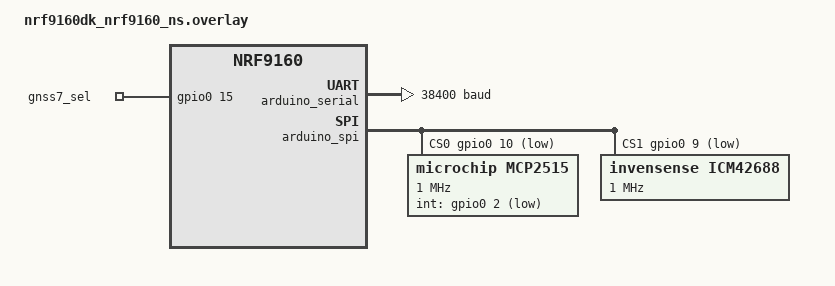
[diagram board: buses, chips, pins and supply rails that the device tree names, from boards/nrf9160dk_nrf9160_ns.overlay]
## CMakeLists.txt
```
# Copyright (c) 2022-2023 Golioth, Inc.
# SPDX-License-Identifier: Apache-2.0

cmake_minimum_required(VERSION 3.20.0)

if((BOARD STREQUAL nrf9160dk_nrf9160) OR (BOARD STREQUAL nrf9160dk_nrf9160_ns))
  set(SHIELD "arduino_uno_click")
endif()

find_package(Zephyr REQUIRED HINTS $ENV{ZEPHYR_BASE})

project(can_asset_tracker)

include_directories(src/lib/inc)
add_compile_definitions(timegm=mktime)
target_sources(app PRIVATE src/lib/minmea/minmea.c)

target_sources(app PRIVATE src/main.c)
target_sources(app PRIVATE src/app_rpc.c)
target_sources(app PRIVATE src/app_settings.c)
target_sources(app PRIVATE src/app_state.c)
target_sources(app PRIVATE src/app_sensors.c)
target_sources(app PRIVATE src/uplink_mqtt.c)
target_sources(app PRIVATE src/buffer_fifo.c)
target_sources(app PRIVATE src/obd_j1979.c)
target_sources(app PRIVATE src/dtc_decode.c)
target_sources(app PRIVATE src/harsh_driving.c)
target_sources(app PRIVATE src/imu_icm42688.c)
target_sources(app PRIVATE src/ota_update.c)
```

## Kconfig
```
# Copyright (c) 2022-2023 Golioth, Inc.
# SPDX-License-Identifier: Apache-2.0

mainmenu "Golioth application options"

if DNS_RESOLVER

config DNS_SERVER_IP_ADDRESSES
	default y

config DNS_SERVER1
	default "1.1.1.1"

endif # DNS_RESOLVER

menu "Uplink MQTT"

config UPLINK_MQTT_BROKER_HOSTNAME
	string "MQTT broker hostname or IP address"
	default ""
	help
	  Self-hosted MQTT broker to connect to. Left empty by default since
	  this is deployment-specific; must be set in a board/deployment conf
	  overlay before this module can connect.

config UPLINK_MQTT_BROKER_PORT
	int "MQTT broker TLS port"
	default 8883
	help
	  Standard MQTT-over-TLS port. Change if your broker listens
	  elsewhere.

config UPLINK_MQTT_SEC_TAG
	int "Modem key-mgmt security tag for broker TLS credentials"
	default 1234567
	help
	  nRF9160 modem-side credential storage slot (see modem_key_mgmt.h)
	  used for the CA cert / client cert / private key trio provisioned
	  by uplink_mqtt_init(). Pick a project-specific value if this device
	  already uses other sec_tags for unrelated purposes (they share one
	  flat, modem-global numeric namespace).

config UPLINK_MQTT_DEVICE_ID
	string "Device ID used in MQTT topics and as the MQTT client ID"
	default ""
	help
	  Used to build the trackers/{device_id}/{telemetry,events,status}
	  topics. If left empty, uplink_mqtt_init() falls back to the
	  modem's IMEI (via modem_info) so each device gets a unique ID
	  without per-device Kconfig fragments.

endmenu

menu "OTA Update"

config FOTA_UPDATE_SERVER_HOSTNAME
	string "Firmware update server hostname"
	default ""
	help
	  Self-hosted HTTPS host serving signed firmware images (see
	  ota_update.c). Left empty by default, same pattern as
	  UPLINK_MQTT_BROKER_HOSTNAME — fill in once hosting is stood up.
	  ota_update.c requires the "url" field of every trackers/{device_id}/
	  ota MQTT message to have this same host (when non-empty); a
	  mismatch is rejected rather than followed, so a compromised
	  MQTT publisher can't redirect the device to an arbitrary host.
	  Left as a no-op (any host accepted, logged loudly) while empty,
	  since there's nothing yet to validate against.

config FOTA_UPDATE_SEC_TAG
	int "Modem key-mgmt security tag for the FOTA HTTPS download's CA cert"
	default 1234568
	help
	  Deliberately a *different* sec_tag from UPLINK_MQTT_SEC_TAG — see
	  AUDIT.md's Phase 6 section for why this was chosen over reusing the
	  MQTT sec_tag (mainly: avoids presenting the MQTT broker's mTLS
	  client certificate to an unrelated firmware-hosting server, and
	  allows the firmware host to trust a different/public CA than the
	  MQTT broker's private one). CA-only (server-authenticated HTTPS,
	  not mutual TLS) — see ota_update_certs.h.

endmenu

source "Kconfig.zephyr"
```

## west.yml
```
# Copyright (c) 2024 Golioth, Inc.
# SPDX-License-Identifier: Apache-2.0

manifest:
  version: 1.0

  projects:
    # Direct import of the zephyr/nrf/HAL tree, pinned at the exact revision
    # and name-allowlist previously resolved transitively through the now-
    # removed `golioth` (golioth-firmware-sdk) project's
    # `import: {file: west-ncs.yml}` (that file just pointed here at the same
    # revision with `import: true`). Verified byte-identical resolution
    # before/after this change — see AUDIT.md.
    #
    # Note: `path` is bare `nrf` (not `deps/nrf`) because `import.path-prefix`
    # below applies to this project's own resolved path too, not just to the
    # projects its import pulls in — `deps` + `nrf` = `deps/nrf`. The
    # now-removed `golioth` project had the same quirk in reverse: its bare
    # `path: modules/lib/golioth-firmware-sdk` resolved to
    # `deps/modules/lib/golioth-firmware-sdk` on disk because of its own
    # `import.path-prefix: deps`.
    - name: nrf
      path: nrf
      revision: v3.1.1
      url: https://github.com/nrfconnect/sdk-nrf
      import:
        path-prefix: deps
        name-allowlist:
          - zephyr
          - cmsis_6
          - hal_nordic
          - mbedtls
          - mbedtls-nrf
          - mcuboot
          - net-tools
          - nrfxlib
          - oberon-psa-crypto
          - qcbor
          - segger
          - tfm-mcuboot
          - tinycrypt
          - trusted-firmware-m
          - zcbor

    - name: zephyr-network-info
      path: deps/modules/lib/network-info
      revision: v1.2.0
      url: https://github.com/golioth/zephyr-network-info

    - name: golioth-battery-monitor
      path: deps/modules/lib/battery-monitor
      revision: v1.1.0
      url: https://github.com/golioth/battery-monitor

    - name: minmea
      path: app/src/lib/minmea
      revision: 85439b97dd4984c5efb84ce954b85088e781dae8
      url: https://github.com/kosma/minmea.git

  self:
    path: app
```

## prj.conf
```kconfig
# Copyright (c) 2024 Golioth, Inc.
# SPDX-License-Identifier: Apache-2.0

# TODO(replace-with-mqtt): CONFIG_GOLIOTH_FIRMWARE_SDK and the six service
# switches below it (FW_UPDATE/LIGHTDB_STATE/LOG_BACKEND_GOLIOTH/RPC/
# SETTINGS/STREAM), CONFIG_GOLIOTH_SAMPLE_COMMON, and
# CONFIG_GOLIOTH_RPC_MAX_RESPONSE_LEN (further below) removed — golioth
# module no longer exists (see west.yml). CONFIG_GOLIOTH_FW_UPDATE's own
# replacement — MCUboot's signed-image flow was confirmed untouched and
# standalone (Phase 6, see AUDIT.md), and ota_update.c/CONFIG_FOTA_DOWNLOAD
# below (Phase 6) now do the actual fetch-and-verify.

# CONFIG_ZVFS_EVENTFD_MAX/OPEN_MAX and CONFIG_COAP_EXTENDED_OPTIONS_LEN*
# below (previously under this same "Configure Golioth SDK dependencies"
# comment) were sized for Golioth's CoAP/DTLS transport specifically and are
# removed as dead config for the same reason — with golioth's own Kconfig
# tree gone, these assignments no longer have the dependency chain that made
# them meaningful, and this Zephyr/NCS setup aborts the build on any Kconfig
# warning (not just undefined-symbol ones), so leaving them in place doesn't
# merely produce noise, it's build-breaking. Re-tune fd/heap limits for
# MQTT/TLS's actual needs in Phase 3.
CONFIG_LOG_PROCESS_THREAD_STACK_SIZE=1536
CONFIG_MBEDTLS_ENABLE_HEAP=y
CONFIG_MBEDTLS_HEAP_SIZE=10240
CONFIG_NETWORKING=y
CONFIG_NET_IPV4=y

# Application
CONFIG_MAIN_STACK_SIZE=2048
CONFIG_NET_LOG=y
CONFIG_NET_SHELL=y
CONFIG_REBOOT=y

# Flash memory (etc.) for firmware upgrade
CONFIG_FLASH=y
CONFIG_FLASH_MAP=y
CONFIG_NVS=y
CONFIG_STREAM_FLASH=y
CONFIG_IMG_MANAGER=y
CONFIG_IMG_ERASE_PROGRESSIVELY=y
CONFIG_REBOOT=y

# TODO(replace-with-mqtt): CONFIG_GOLIOTH_SAMPLE_SETTINGS_AUTOLOAD/_SHELL
# removed — these provided the `settings set golioth/psk-id ...` /
# `settings set golioth/psk ...` shell commands and DTLS-PSK credential
# auto-load documented in the original README (main.c's corresponding
# golioth_sample_credentials_get() call was already removed). CONFIG_SETTINGS
# / CONFIG_SETTINGS_RUNTIME themselves are generic Zephyr NVS-backed
# key-value storage, not Golioth-specific — kept, since Phase 3's TLS
# credential provisioning will likely reuse this same subsystem.
CONFIG_SETTINGS=y
CONFIG_SETTINGS_RUNTIME=y

# MQTT/TLS uplink (Phase 3). TLS is modem-offloaded on nRF9160 — credentials
# are provisioned via modem_key_mgmt_write() (CONFIG_MODEM_KEY_MGMT), not
# Zephyr's tls_credentials/CONFIG_MBEDTLS, which only matter for the native
# (non-offloaded) socket path. See uplink_mqtt.c and AUDIT.md's Phase 3
# research notes for why.
CONFIG_MQTT_LIB=y
CONFIG_MQTT_LIB_TLS=y
CONFIG_MODEM_KEY_MGMT=y
CONFIG_NET_SOCKETS=y

# Flash-backed offline telemetry buffer (buffer_fifo.c)
CONFIG_FLASH_PAGE_LAYOUT=y

# Misc.
CONFIG_JSON_LIBRARY=y
CONFIG_I2C=y
CONFIG_GPIO=y

# CAN interface
CONFIG_SERIAL=y
CONFIG_UART_INTERRUPT_DRIVEN=y
CONFIG_CAN=y

# ICM-42688-P IMU for harsh-driving detection (Phase 5). SPI-only driver
# (no I2C backend) — see boards/nrf9160dk_nrf9160_ns.overlay. Polled via
# sensor_sample_fetch(), not interrupt/trigger mode, so no
# CONFIG_ICM42688_TRIGGER_* needed.
CONFIG_SENSOR=y
CONFIG_ICM42688=y

# OTA update (Phase 6). fota_download already wraps dfu_target's
# init/write/done/schedule_update internally (confirmed from source —
# fota_download.c's DOWNLOADER_EVT_DONE handler calls dfu_target_done() +
# dfu_target_schedule_update() for us). CONFIG_DFU_TARGET_MCUBOOT defaults
# to y given CONFIG_IMG_MANAGER and CONFIG_BOOTLOADER_MCUBOOT
# (sysbuild.conf), but CONFIG_DFU_TARGET itself (its parent menuconfig) has
# no default — first build attempt linked clean until here, then failed
# with "undefined reference to fota_download_init" because DFU_TARGET
# (and so FOTA_DOWNLOAD, which depends on DFU_TARGET, and so its
# CMakeLists.txt) was never enabled at all; explicit below. CA cert for the
# HTTPS download is provisioned via the same modem_key_mgmt_write()
# mechanism as uplink_mqtt.c, under a *separate* sec_tag
# (CONFIG_FOTA_UPDATE_SEC_TAG) — see ota_update.c.
CONFIG_DFU_TARGET=y
CONFIG_FOTA_DOWNLOAD=y
CONFIG_DOWNLOADER=y
CONFIG_DOWNLOADER_STACK_SIZE=4096
```

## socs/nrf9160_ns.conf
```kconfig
# Copyright (c) 2024 Golioth, Inc.
# SPDX-License-Identifier: Apache-2.0

# General config
CONFIG_HEAP_MEM_POOL_SIZE=4096
CONFIG_NEWLIB_LIBC=y
CONFIG_CBPRINTF_FP_SUPPORT=y

# Networking
CONFIG_NET_SOCKETS_OFFLOAD=y
CONFIG_NET_IPV6=y
CONFIG_NET_IPV6_NBR_CACHE=n
CONFIG_NET_IPV6_MLD=n

# TODO(replace-with-mqtt): removed CONFIG_NET_SOCKETS_TLS_PRIORITY=35, which
# forced native/software TLS instead of modem-offloaded TLS — needed for
# Golioth's CoAP/DTLS stack, but actively wrong for uplink_mqtt.c. Per
# subsys/net/lib/sockets/Kconfig: NET_SOCKETS_OFFLOAD_PRIORITY defaults to
# 40, NET_SOCKETS_TLS_PRIORITY defaults to 45 (40 < 45 => offloaded/modem
# TLS wins, which is what modem_key_mgmt-provisioned credentials require).
# Lowering TLS_PRIORITY to 35 flipped that (40 > 35 => native TLS wins
# instead), which would silently look for credentials via
# tls_credential_add()'s volatile store — never populated here, since
# credentials are provisioned into the modem's own storage — producing a
# TLS handshake failure that's very hard to diagnose over cellular. Leaving
# both priorities at their Kconfig defaults keeps modem-offloaded TLS active.

# Modem library
CONFIG_NRF_MODEM_LIB=y

# LTE connectivity with network connection manager
CONFIG_NRF_MODEM_LIB_NET_IF=y
CONFIG_NRF_MODEM_LIB_NET_IF_AUTO_START=y
CONFIG_NRF_MODEM_LIB_NET_IF_AUTO_CONNECT=n
CONFIG_NET_CONNECTION_MANAGER=y
CONFIG_NET_CONNECTION_MANAGER_MONITOR_STACK_SIZE=1024

# Increased sysworkq size, due to LTE connectivity
CONFIG_SYSTEM_WORKQUEUE_STACK_SIZE=2048

# Disable options y-selected by NCS for no good reason
CONFIG_MBEDTLS_KEY_EXCHANGE_DHE_PSK_ENABLED=n
CONFIG_MBEDTLS_KEY_EXCHANGE_DHE_RSA_ENABLED=n
CONFIG_MBEDTLS_PK_PARSE_EC_EXTENDED=n

# MbedTLS configuration to support p-384 curve. These options
# enable using the MbedTLS built-in support for operations not
# supported by the default nRF Oberon crypto backend
CONFIG_NORDIC_SECURITY_BACKEND=n
CONFIG_MBEDTLS_LEGACY_CRYPTO_C=y

# Configure Golioth SDK dependencies (for NCS)
CONFIG_MBEDTLS_SSL_IN_CONTENT_LEN=2048
CONFIG_MBEDTLS_SSL_OUT_CONTENT_LEN=2048

# Generate MCUboot compatible images
CONFIG_BOOTLOADER_MCUBOOT=y

# TODO(replace-with-mqtt): CONFIG_NETWORK_INFO unconditionally compiles all
# of zephyr-network-info's backend .c files together (see its CMakeLists.txt),
# and network_info_modem_info.c/network_info_placeholder.c each hard-#include
# <golioth/rpc.h> for network_info_add_to_map()'s golioth_rpc_status return
# type — that function is Golioth-RPC-transport-specific and isn't ported
# (see AUDIT.md). Its own Kconfig help text is explicit that this option's
# purpose is "Return network information to a Golioth RPC or Log function".
# Disabled since nothing in src/ calls into this library anymore; re-enable
# once something (e.g. an MQTT status-topic publisher) calls the library's
# generic network_info_log() and the vendored .c files are correspondingly
# adjusted upstream or forked.
CONFIG_NETWORK_INFO=n
CONFIG_MODEM_INFO=y

# CAN init priority is lower than SPI init priority by default
# See https://github.com/zephyrproject-rtos/zephyr/issues/55745
CONFIG_CAN_INIT_PRIORITY=80
```

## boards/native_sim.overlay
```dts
/*
 * SPDX-License-Identifier: Apache-2.0
 */

/*
 * native_sim board overlay for host-side CAN/OBD/MQTT/buffering testing
 * (Phase 3.5) — see TESTING.md for scope and the vcan0 setup this pairs
 * with. Mirrors deps/zephyr/tests/drivers/can/host/boards/native_sim.overlay
 * for the CAN node; gnss7-sel/sw1 reuse the same "borrow the gpio-leds
 * binding for a plain GPIO alias" trick the real hardware overlay
 * (nrf9160dk_nrf9160_ns.overlay) already uses for gnss7-sel, backed here by
 * native_sim's built-in emulated &gpio0 controller instead of a real pin.
 * click-uart is aliased to native_sim's second native-pty-uart (uart1,
 * disabled by default) rather than stubbed out, so NMEA parsing can still
 * be exercised by feeding sentences into its host-side PTY peer.
 */

/ {
	chosen {
		zephyr,canbus = &can0;
	};

	aliases {
		click-uart = &uart1;
		gnss7-sel = &gnss7_sel;
		sw1 = &sw1_stub;
	};

	native_sim_gpio_stubs {
		compatible = "gpio-leds";
		gnss7_sel: gnss7_sel {
			gpios = <&gpio0 1 GPIO_ACTIVE_HIGH>;
		};
		sw1_stub: sw1_stub {
			gpios = <&gpio0 2 GPIO_ACTIVE_LOW>;
		};
	};
};

&can_loopback0 {
	status = "disabled";
};

&can0 {
	status = "okay";
};

&uart1 {
	status = "okay";
	current-speed = <38400>;
};
```

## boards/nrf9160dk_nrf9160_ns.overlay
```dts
/*
 * Copyright (c) 2024 Golioth, Inc.
 *
 * SPDX-License-Identifier: Apache-2.0
 */

#include <zephyr/dt-bindings/sensor/icm42688.h>

/ {
	chosen {
		zephyr,canbus = &mcp2515;
	};

	aliases {
		golioth-led = &led2;
		click-uart = &arduino_serial;
		gnss7-sel = &gnss7_sel;
	};

	gpio_logic {
		compatible = "gpio-leds";
		gnss7_sel: gnss7_sel {
			gpios = <&gpio0 15 GPIO_ACTIVE_HIGH>; /* AN */
		};
	};
};

&arduino_serial {
	status = "okay";
	current-speed = <38400>;
};

&arduino_spi {
	status = "okay";
	/* Index in cs-gpios corresponds to the child node's reg value
	 * (see dts/bindings/spi/spi-controller.yaml) — index 0 (D10) is
	 * the existing MCP2515 CS, index 1 (D9) is the new ICM-42688-P CS. */
	cs-gpios = <&gpio0 10 GPIO_ACTIVE_LOW>, /* CS: MCP2515 */
		   <&gpio0 9 GPIO_ACTIVE_LOW>;  /* CS: ICM-42688-P */

	mcp2515: mcp2515@0 {
		compatible = "microchip,mcp2515";
		spi-max-frequency = <1000000>;
		int-gpios = <&gpio0 2 GPIO_ACTIVE_LOW>; /* INT */
		status = "okay";
		reg = <0x0>;
		osc-freq = <10000000>;
		bitrate = <500000>;
		sample-point = <875>;

		can-transceiver {
			max-bitrate = <1000000>;
		};
	};

	/* Zephyr's mainline icm42688 driver is SPI-only (no I2C backend),
	 * hence it living on &arduino_spi rather than &arduino_i2c despite
	 * the shield exposing both. Polled via sensor_sample_fetch() from
	 * imu_icm42688.c rather than interrupt/trigger mode, so no
	 * int-gpios — one less pin to wire, and this workload doesn't need
	 * the latency interrupt mode buys. */
	icm42688: icm42688@1 {
		compatible = "invensense,icm42688";
		spi-max-frequency = <1000000>;
		status = "okay";
		reg = <0x1>;
		accel-pwr-mode = <ICM42688_DT_ACCEL_LN>;
		accel-odr = <ICM42688_DT_ACCEL_ODR_100>;
		accel-fs = <ICM42688_DT_ACCEL_FS_8>;
		gyro-pwr-mode = <ICM42688_DT_GYRO_LN>;
		gyro-odr = <ICM42688_DT_GYRO_ODR_100>;
		gyro-fs = <ICM42688_DT_GYRO_FS_2000>;
	};
};

&pinctrl {
	/*
	 * Arduino Uno provides the same SCL/SDA on two sets of pins, but the
	 * nRF9160-DK maps these pins to two different pairs of GPIO. When using
	 * the Arduino Uno Click Shield board, the P0.18/P0.19 pair must be used.
	 */
	i2c2_default: i2c2_default {
		group1 {
			psels = <NRF_PSEL(TWIM_SDA, 0, 18)>,
				<NRF_PSEL(TWIM_SCL, 0, 19)>;
		};
	};

	i2c2_sleep: i2c2_sleep {
		group1 {
			psels = <NRF_PSEL(TWIM_SDA, 0, 18)>,
				<NRF_PSEL(TWIM_SCL, 0, 19)>;
			low-power-enable;
		};
	};

	/*
	 * The default pin group includes RTS/CTS HW flow control, but the Arduino
	 * Uno Click Shield board does not connect these pins (only TX/RX are used).
	 * This keeps RX/TX on the same pins, but just removes RTS/CTS from the
	 * pin groups.
	 */
	uart1_default: uart1_default {
		group1 {
			psels = <NRF_PSEL(UART_TX, 0, 1)>,
				<NRF_PSEL(UART_RX, 0, 0)>;
		};
	};

	uart1_sleep: uart1_sleep {
		group1 {
			psels = <NRF_PSEL(UART_TX, 0, 1)>,
				<NRF_PSEL(UART_RX, 0, 0)>;
			low-power-enable;
		};
	};
};
```

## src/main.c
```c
/*
 * Copyright (c) 2022-2023 Golioth, Inc.
 *
 * SPDX-License-Identifier: Apache-2.0
 */

#include <zephyr/logging/log.h>
LOG_MODULE_REGISTER(golioth_can_asset_tracker, LOG_LEVEL_DBG);

#include <app_version.h>
#include "app_rpc.h"
#include "app_settings.h"
#include "app_sensors.h"
#include "uplink_mqtt.h"
#include "obd_j1979.h"
#include "imu_icm42688.h"
#include "ota_update.h"
#include <zephyr/dfu/mcuboot.h>
/* TODO(replace-with-mqtt): app_state.c was a Golioth LightDB State ("digital
 * twin") demo with no real vehicle data flowing through it (see AUDIT.md) —
 * dropped rather than ported. */
#include <zephyr/kernel.h>

#ifdef CONFIG_SOC_SERIES_NRF91X
#include <modem/lte_lc.h>
#endif
#ifdef CONFIG_ALUDEL_BATTERY_MONITOR
#include <battery_monitor.h>
#endif

#include <zephyr/drivers/gpio.h>

#ifdef CONFIG_MODEM_INFO
#include <modem/modem_info.h>
#endif

/* Current firmware version; update in VERSION */
static const char *_current_version =
	STRINGIFY(APP_VERSION_MAJOR) "." STRINGIFY(APP_VERSION_MINOR) "." STRINGIFY(APP_PATCHLEVEL);

static k_tid_t _system_thread = 0;

#if DT_NODE_EXISTS(DT_ALIAS(golioth_led))
static const struct gpio_dt_spec golioth_led = GPIO_DT_SPEC_GET(DT_ALIAS(golioth_led), gpios);
#endif /* DT_NODE_EXISTS(DT_ALIAS(golioth_led)) */
static const struct gpio_dt_spec user_btn = GPIO_DT_SPEC_GET(DT_ALIAS(sw1), gpios);
static struct gpio_callback button_cb_data;

/* forward declarations */
void golioth_connection_led_set(uint8_t state);

void wake_system_thread(void)
{
	k_wakeup(_system_thread);
}

/* TODO(replace-with-mqtt): this whole Golioth client bootstrap (client
 * create, connect-event callback, fw_update init, and the four service
 * registration calls it fanned out to) is replaced by uplink_mqtt's
 * connect/reconnect handling in Phase 3. Nothing here fed sensor data in —
 * it was purely the cloud transport bootstrap — so it's dropped rather than
 * stubbed. app_sensors_set_client()/app_settings_register()/app_rpc_register()
 * calls that used to happen here are removed at their own definitions. */

#ifdef CONFIG_SOC_SERIES_NRF91X

static void lte_handler(const struct lte_lc_evt *const evt)
{
	if (evt->type == LTE_LC_EVT_NW_REG_STATUS) {

		if ((evt->nw_reg_status == LTE_LC_NW_REG_REGISTERED_HOME) ||
		    (evt->nw_reg_status == LTE_LC_NW_REG_REGISTERED_ROAMING)) {

			uplink_mqtt_start();
		}
	}
}

#endif /* CONFIG_SOC_SERIES_NRF91X */

#ifdef CONFIG_MODEM_INFO
static void log_modem_firmware_version(void)
{
	char sbuf[128];

	/* Initialize modem info */
	int err = modem_info_init();

	if (err) {
		LOG_ERR("Failed to initialize modem info: %d", err);
	}

	/* Log modem firmware version */
	modem_info_string_get(MODEM_INFO_FW_VERSION, sbuf, sizeof(sbuf));
	LOG_INF("Modem firmware version: %s", sbuf);
}
#endif

void button_pressed(const struct device *dev, struct gpio_callback *cb, uint32_t pins)
{
	LOG_DBG("Button pressed at %d", k_cycle_get_32());
	/* This function is an Interrupt Service Routine. Do not call functions that
	 * use other threads, or perform long-running operations here
	 */
	k_wakeup(_system_thread);
}

/* Set (unset) LED indicators for active Golioth connection */
void golioth_connection_led_set(uint8_t state)
{
	uint8_t pin_state = state ? 1 : 0;
	ARG_UNUSED(pin_state); /* silence warning if no LED present */

	/* Turn on Golioth logo LED once connected */
	IF_ENABLED(DT_NODE_EXISTS(DT_ALIAS(golioth_led)),
		(gpio_pin_set_dt(&golioth_led, pin_state);));
}

int main(void)
{
	int err;

	/* Confirm this image so MCUboot doesn't revert it at the next reset.
	 * Every fota_download-driven update is a "test" swap (dfu_target
	 * schedules BOOT_UPGRADE_TEST, never PERMANENT — see AUDIT.md's Phase
	 * 6 section) until this runs; safe/idempotent to call on every boot,
	 * including ones that didn't follow an update. Called unconditionally
	 * here, matching NCS's own http_update sample — this is a known,
	 * intentionally-flagged limitation, not a considered safety design:
	 * it confirms immediately, before any health check, so a genuinely
	 * broken new image gets permanently confirmed rather than caught and
	 * rolled back automatically. A stricter design would defer this call
	 * until after confirming the new image can actually bring up
	 * LTE/MQTT, letting MCUboot's own revert-on-next-reset behavior catch
	 * a bad build — not implemented here, see ISSUES.md. */
	boot_write_img_confirmed();

	/* Initialize sensors */
	app_sensors_init();
	obd_j1979_init();
	imu_icm42688_init();

	LOG_DBG("Started CAN Asset Tracker app");

	LOG_INF("Firmware version: %s", _current_version);
	IF_ENABLED(CONFIG_MODEM_INFO, (log_modem_firmware_version();));

	/* Get system thread id so loop delay change event can wake main */
	_system_thread = k_current_get();

#if DT_NODE_EXISTS(DT_ALIAS(golioth_led))
	/* Initialize Golioth logo LED */
	err = gpio_pin_configure_dt(&golioth_led, GPIO_OUTPUT_INACTIVE);
	if (err) {
		LOG_ERR("Unable to configure LED for Golioth Logo");
	}
#endif /* DT_NODE_EXISTS(DT_ALIAS(golioth_led)) */

#ifdef CONFIG_SOC_SERIES_NRF91X
	/* Provision TLS credentials and mount the offline-telemetry buffer
	 * before LTE comes up — modem_key_mgmt_write() (used by
	 * uplink_mqtt_init()) fails with -EPERM once the link is active.
	 * uplink_mqtt_start() (called from lte_handler() once LTE registers)
	 * only starts the connect/reconnect thread, no credential writes. */
	err = uplink_mqtt_init();
	if (err) {
		LOG_ERR("uplink_mqtt_init failed: %d", err);
	}

	err = ota_update_init();
	if (err) {
		LOG_ERR("ota_update_init failed: %d", err);
	}

	/* Start LTE asynchronously; uplink_mqtt_start() is triggered from
	 * lte_handler() once LTE registers. */
	LOG_INF("Connecting to LTE, this may take some time...");
	lte_lc_connect_async(lte_handler);

#else
	/* TODO(replace-with-mqtt): non-nRF91x path (WiFi/DHCP bring-up +
	 * blocking connect) depended on golioth-firmware-sdk's samples/common
	 * library (net_connect(), sample_credentials), which no longer exists
	 * in this workspace. Target hardware for this project is nRF9160-DK
	 * only (see AUDIT.md), so this branch is dead code for us; left as a
	 * stub rather than deleted in case a non-cellular board is added later. */
#endif /* CONFIG_SOC_SERIES_NRF91X */

	/* Set up user button */
	err = gpio_pin_configure_dt(&user_btn, GPIO_INPUT);
	if (err) {
		LOG_ERR("Error %d: failed to configure %s pin %d", err, user_btn.port->name,
			user_btn.pin);
		return err;
	}

	err = gpio_pin_interrupt_configure_dt(&user_btn, GPIO_INT_EDGE_TO_ACTIVE);
	if (err) {
		LOG_ERR("Error %d: failed to configure interrupt on %s pin %d", err,
			user_btn.port->name, user_btn.pin);
		return err;
	}

	gpio_init_callback(&button_cb_data, button_pressed, BIT(user_btn.pin));
	gpio_add_callback(user_btn.port, &button_cb_data);

	while (true) {
		app_sensors_read_and_stream();

		k_sleep(K_SECONDS(get_loop_delay_s()));
	}
}
```

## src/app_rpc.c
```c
/*
 * Copyright (c) 2024 Golioth, Inc.
 *
 * SPDX-License-Identifier: Apache-2.0
 */

#include <zephyr/logging/log.h>
LOG_MODULE_REGISTER(app_rpc, LOG_LEVEL_DBG);

#include <zephyr/logging/log_ctrl.h>
#include <zephyr/sys/reboot.h>

#include "app_rpc.h"

/* Kept: plain Zephyr reboot mechanism, no Golioth types involved. Currently
 * unreachable since its only caller (the RPC "reboot" handler below) was
 * removed; wire it up again once an MQTT command topic exists. */
static void reboot_work_handler(struct k_work *work)
{
	for (int8_t i = 5; i >= 0; i--) {
		if (i) {
			LOG_INF("Rebooting in %d seconds...", i);
		}
		k_sleep(K_SECONDS(1));
	}

	/* Sync logs before reboot */
	LOG_PANIC();

	sys_reboot(SYS_REBOOT_COLD);
}
K_WORK_DEFINE(reboot_work, reboot_work_handler);

/* TODO(replace-with-mqtt): this file's three RPC handlers
 * (get_network_info/set_log_level/reboot) and their registration are removed
 * — their signatures (zcbor_state_t* params, enum golioth_rpc_status return)
 * are the Golioth RPC transport's own API contract, not generic code with a
 * thin Golioth wrapper, so there's no non-Golioth-typed shell to preserve
 * (see AUDIT.md's zephyr-network-info / golioth-battery-monitor split for
 * the same distinction applied to those two libraries). The reboot work
 * queue above and network_info_log() (in the zephyr-network-info module)
 * are the reusable pieces; re-wire them to an MQTT command topic when one
 * exists. */
void app_rpc_register(void)
{
}
```

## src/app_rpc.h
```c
/*
 * Copyright (c) 2024 Golioth, Inc.
 *
 * SPDX-License-Identifier: Apache-2.0
 */

/**
 * TODO(replace-with-mqtt): was Golioth RPC handler registration
 * (get_network_info/set_log_level/reboot). No-op placeholder until an MQTT
 * command topic exists to re-wire these to — see app_rpc.c.
 */

#ifndef __APP_RPC_H__
#define __APP_RPC_H__

void app_rpc_register(void);

#endif /* __APP_RPC_H__ */
```

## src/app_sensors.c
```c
/*
 * Copyright (c) 2024 Golioth, Inc.
 *
 * SPDX-License-Identifier: Apache-2.0
 */

#include <zephyr/logging/log.h>
LOG_MODULE_REGISTER(app_sensors, LOG_LEVEL_DBG);

#include <string.h>
#include <zephyr/drivers/gpio.h>
#include <zephyr/kernel.h>
#include <zephyr/kernel/thread_stack.h>
#include <zephyr/device.h>
#include <zephyr/drivers/uart.h>
#include <zephyr/sys/byteorder.h>

#include <app_version.h>
#include "app_sensors.h"
#include "app_settings.h"
#include "uplink_mqtt.h"
#include "obd_j1979.h"
#include "lib/minmea/minmea.h"

static const char *fw_version_str =
	STRINGIFY(APP_VERSION_MAJOR) "." STRINGIFY(APP_VERSION_MINOR) "." STRINGIFY(APP_PATCHLEVEL);

#ifdef CONFIG_ALUDEL_BATTERY_MONITOR
#include <battery_monitor.h>
#endif

#define NMEA_SIZE 128
#define UART_DEVICE_NODE DT_ALIAS(click_uart)
static const struct device *const uart_dev = DEVICE_DT_GET(UART_DEVICE_NODE);

#define UART_SEL DT_ALIAS(gnss7_sel)
static const struct gpio_dt_spec gnss7_sel = GPIO_DT_SPEC_GET(UART_SEL, gpios);

/* Vehicle data captured alongside each GPS fix — sourced from obd_j1979.c's
 * latest PID readings at the time of the fix, not read fresh from the CAN
 * bus here (that plumbing moved to obd_j1979.c; see its header for why). */
struct can_asset_tracker_data {
	struct minmea_sentence_rmc rmc_frame;
	struct obd_j1979_data obd;
	/* Latest GGA fix_quality (0=invalid,1=GPS,2=DGPS,...), captured from
	 * g_fix_quality below — RMC itself carries no fix-quality field, only
	 * GGA does, so that sentence type is parsed in process_reading() too. */
	int fix_quality;
};

/* Updated directly from process_reading() (UART ISR context) whenever a
 * GGA sentence parses; read into each RMC-triggered cat_frame record. No
 * mutex, matching this file's existing risk tolerance for small
 * ISR-shared scalars (see _last_gps in process_reading()). */
static int g_fix_quality = -1;

K_MSGQ_DEFINE(cat_msgq, sizeof(struct can_asset_tracker_data), 64, 4);
K_MSGQ_DEFINE(rmc_msgq, sizeof(struct minmea_sentence_rmc), 2, 4);

#define PROCESS_RMC_FRAMES_THREAD_STACK_SIZE 2048
#define PROCESS_RMC_FRAMES_THREAD_PRIORITY   2
static k_tid_t process_rmc_frames_tid;
struct k_thread process_rmc_frames_thread_data;
K_THREAD_STACK_DEFINE(process_rmc_frames_thread_stack, PROCESS_RMC_FRAMES_THREAD_STACK_SIZE);

/* clang-format off */
/* args: device_id, fw_version, timestamp, lat, lng, speed_kmh, heading_deg,
 * fix_quality, location.fake, obd.vehicle_speed_kmh, engine_rpm,
 * fuel_level_pct, coolant_temp_c, ignition_on, supply_voltage_v, buffered */
#define JSON_FMT \
"{" \
	"\"device_id\":\"%s\"," \
	"\"fw_version\":\"%s\"," \
	"\"timestamp\":\"%s\"," \
	"\"location\":" \
	"{" \
		"\"lat\":%s," \
		"\"lng\":%s," \
		"\"speed_kmh\":%.1f," \
		"\"heading_deg\":%.1f," \
		"\"fix_quality\":%d," \
		"\"fake\":%s" \
	"}," \
	"\"obd\":" \
	"{" \
		"\"vehicle_speed_kmh\":%.1f," \
		"\"engine_rpm\":%d," \
		"\"fuel_level_pct\":%.1f," \
		"\"coolant_temp_c\":%d" \
	"}," \
	"\"power\":" \
	"{" \
		"\"ignition_on\":%s," \
		"\"supply_voltage_v\":%.1f" \
	"}," \
	"\"buffered\":%s" \
"}"
/* Same as JSON_FMT but without "timestamp" — no real UTC time exists for a
 * synthetic fake-GPS fix. args: device_id, fw_version, lat, lng, speed_kmh,
 * heading_deg, fix_quality, location.fake, obd.*, ignition_on,
 * supply_voltage_v, buffered */
#define JSON_FMT_FAKE_GPS \
"{" \
	"\"device_id\":\"%s\"," \
	"\"fw_version\":\"%s\"," \
	"\"location\":" \
	"{" \
		"\"lat\":%s," \
		"\"lng\":%s," \
		"\"speed_kmh\":%.1f," \
		"\"heading_deg\":%.1f," \
		"\"fix_quality\":%d," \
		"\"fake\":%s" \
	"}," \
	"\"obd\":" \
	"{" \
		"\"vehicle_speed_kmh\":%.1f," \
		"\"engine_rpm\":%d," \
		"\"fuel_level_pct\":%.1f," \
		"\"coolant_temp_c\":%d" \
	"}," \
	"\"power\":" \
	"{" \
		"\"ignition_on\":%s," \
		"\"supply_voltage_v\":%.1f" \
	"}," \
	"\"buffered\":%s" \
"}"
/* {device_id}/{timestamp}/{code}/{buffered ? "true" : "false"} */
#define DTC_EVENT_JSON_FMT \
"{" \
	"\"device_id\":\"%s\"," \
	"\"timestamp\":\"%s\"," \
	"\"event_type\":\"dtc_detected\"," \
	"\"detail\":{\"code\":\"%s\",\"first_seen\":true}," \
	"\"buffered\":%s" \
"}"
/* clang-format on */

/* Most recent authoritative (non-fake) UTC timestamp from a GPS fix, used
 * for DTC events (which aren't tied to any particular GPS fix the way
 * telemetry records are). Sentinel value until the first valid fix arrives
 * — there's no RTC hardware wired up in this design to fall back to. */
static char last_known_utc_time[32] = "1970-01-01T00:00:00Z";

/* DTC codes already published as a "dtc_detected" event this session —
 * checked so a code is reported exactly once, not re-fired on every poll
 * it's still active, and not re-fired if it clears and later reappears. */
#define MAX_TRACKED_DTC_CODES 16
static char reported_dtc_codes[MAX_TRACKED_DTC_CODES][DTC_CODE_STRLEN];
static size_t reported_dtc_count;

static bool dtc_already_reported(const char *code)
{
	for (size_t i = 0; i < reported_dtc_count; i++) {
		if (strcmp(reported_dtc_codes[i], code) == 0) {
			return true;
		}
	}
	return false;
}

static void dtc_mark_reported(const char *code)
{
	if (reported_dtc_count >= MAX_TRACKED_DTC_CODES) {
		LOG_WRN("Reported-DTC tracking table full; new codes won't be deduped further");
		return;
	}
	strncpy(reported_dtc_codes[reported_dtc_count], code, DTC_CODE_STRLEN - 1);
	reported_dtc_codes[reported_dtc_count][DTC_CODE_STRLEN - 1] = '\0';
	reported_dtc_count++;
}

/**
 * Convert a floating point coordinate value to a minmea_float coordinate.
 *
 * NMEA latitude is represented as [+-]DDMM.MMMM... [-90.0, 90.0]
 * NMEA longitude is represented as [+-]DDDMM.MMMM... [-180.0, 180.0]
 *
 * For example, a float -123.456789 will be be converted to:
 *   degrees = -123
 *   minutes = -0.456789 * 60 = -27.40734
 *   NMEA = (degrees * 100) + minutes = -12327.40734
 *
 * minmea_float stores the .value as a int_least32_t with a .scale factor:
 *   .value = (int_least32_t)(NMEA * .scale)
 *
 * So, NMEA -12327.40734 will be converted to:
 *   .value = -1232740734
 *   .scale = 100000
 *
 * 100000 scaling factor provides 5 digits of precision (±2cm LSB at the
 * equator) for the minutes value.
 *
 * Note: 5 digits of precision is the max we can use. If we were to try to use
 * 6 digits of precision (a scaling factor of 1000000), NMEA -12327.40734 would
 * be converted to .value = -12327407340, which would overflow int32_t:
 *   INT32_MIN =  -2147483648
 *   .value    = -12327407340 <- overflow!
 */
static inline int coord_to_minmea(struct minmea_float *f, float coord)
{
	int32_t degrees = (int32_t)coord;
	float minutes = (coord - degrees) * 60;

	/* Convert degrees to NMEA [+-]DDDMM.MMMMM format */
	degrees *= 100;

	/**
	 * Use 100000 as the scaling factor so that we can store up to 5 decimal
	 * places of minutes in minmea_float.value
	 */
	degrees *= 100000;
	minutes *= 100000;

	/* Make sure we don't overflow int32_t */
	if (minutes < INT32_MIN || minutes > (float)(INT32_MAX - 1)) {
		return -ERANGE;
	}

	/* minmea_float uses int_least32_t internally */
	f->value = (int_least32_t)(degrees + minutes);
	f->scale = 100000;

	return 0;
}

void process_rmc_frames_thread(void *arg1, void *arg2, void *arg3)
{
	int err;
	struct minmea_sentence_rmc rmc_frame;
	struct can_asset_tracker_data cat_frame;

	ARG_UNUSED(arg1);
	ARG_UNUSED(arg2);
	ARG_UNUSED(arg3);

	while (k_msgq_get(&rmc_msgq, &rmc_frame, K_FOREVER) == 0) {
		cat_frame.rmc_frame = rmc_frame;
		cat_frame.fix_quality = g_fix_quality;

		/* Use the latest OBD PID readings alongside this GPS fix. */
		obd_j1979_get_latest(&cat_frame.obd);

		err = k_msgq_put(&cat_msgq, &cat_frame, K_NO_WAIT);
		if (err) {
			LOG_ERR("Unable to add cat_frame to cat_msgq: %d", err);
		}

		LOG_DBG("GPS Position%s: %f, %f", cat_frame.rmc_frame.valid ? "" : " (fake)",
			(double)minmea_tocoord(&rmc_frame.latitude),
			(double)minmea_tocoord(&rmc_frame.longitude));

	}
}

/* This is called from the UART irq callback to try to get out fast */
static void process_reading(char *raw_nmea)
{
	/* _last_gps timestamp records when the previous GPS value was stored */
	static uint64_t _last_gps;
	enum minmea_sentence_id sid;
	sid = minmea_sentence_id(raw_nmea, false);
	if (sid == MINMEA_SENTENCE_RMC) {
		struct minmea_sentence_rmc rmc_frame;
		bool success = minmea_parse_rmc(&rmc_frame, raw_nmea);
		if (success) {
			uint64_t wait_for = _last_gps;
			if (k_uptime_delta(&wait_for) >= ((uint64_t)get_gps_delay_s() * 1000)) {
				if (rmc_frame.valid == true) {
					/* if queue is full, message is silently dropped */
					k_msgq_put(&rmc_msgq, &rmc_frame, K_NO_WAIT);

					/*
					 * wait_for now contains the current timestamp. Store this
					 * for the next reading.
					 */
					_last_gps = wait_for;
				} else {
					if (get_fake_gps_enabled_s() == true) {
						/* use fake GPS coordinates from LightDB state */
						coord_to_minmea(&rmc_frame.latitude,
								get_fake_gps_latitude_s());
						coord_to_minmea(&rmc_frame.longitude,
								get_fake_gps_longitude_s());
						k_msgq_put(&rmc_msgq, &rmc_frame, K_NO_WAIT);

						/*
						 * wait_for now contains the current timestamp.
						 * Store this for the next reading.
						 */
						_last_gps = wait_for;
					}
				}
			} else {
				/* LOG_DBG("Ignoring reading due to gps_delay_s window"); */
			}
		}
	} else if (sid == MINMEA_SENTENCE_GGA) {
		struct minmea_sentence_gga gga_frame;

		if (minmea_parse_gga(&gga_frame, raw_nmea)) {
			g_fix_quality = gga_frame.fix_quality;
		}
	}
}

/* UART callback */
void serial_cb(const struct device *dev, void *user_data)
{
	uint8_t c;
	static char rx_buf[NMEA_SIZE];
	static int rx_buf_pos;

	if (!uart_irq_update(uart_dev)) {
		return;
	}

	while (uart_irq_rx_ready(uart_dev)) {

		uart_fifo_read(uart_dev, &c, 1);

		if ((c == '\n') && rx_buf_pos > 0) {
			/* terminate string */
			if (rx_buf_pos == (NMEA_SIZE - 1)) {
				rx_buf[rx_buf_pos] = '\0';
			} else {
				rx_buf[rx_buf_pos] = '\n';
				rx_buf[rx_buf_pos + 1] = '\0';
			}

			process_reading(rx_buf);
			/* reset the buffer (it was copied to the msgq) */
			rx_buf_pos = 0;
		} else if (rx_buf_pos < (sizeof(rx_buf) - 1)) {
			rx_buf[rx_buf_pos++] = c;
		}
		/* else: characters beyond buffer size are dropped */
	}
}

void app_sensors_init(void)
{
	int err;

	LOG_DBG("Initializing GNSS receiver");

	err = gpio_pin_configure_dt(&gnss7_sel, GPIO_OUTPUT_ACTIVE);
	if (err < 0) {
		LOG_ERR("Unable to configure GNSS SEL Pin: %d", err);
	}

	if (!device_is_ready(uart_dev)) {
		LOG_ERR("UART device %s not ready", uart_dev->name);
	}

	/* Configure UART interrupt and callback to receive data */
	uart_irq_callback_user_data_set(uart_dev, serial_cb, NULL);
	uart_irq_rx_enable(uart_dev);

	/* Spawn a thread to process RMC frames */
	process_rmc_frames_tid = k_thread_create(
		&process_rmc_frames_thread_data, process_rmc_frames_thread_stack,
		K_THREAD_STACK_SIZEOF(process_rmc_frames_thread_stack), process_rmc_frames_thread,
		NULL, NULL, NULL, PROCESS_RMC_FRAMES_THREAD_PRIORITY, 0, K_NO_WAIT);
	if (!process_rmc_frames_tid) {
		LOG_ERR("Error spawning RMC frame processing thread");
	}
}

/* This will be called by the main() loop */
/* Do all of your work here! */
void app_sensors_read_and_stream(void)
{
	struct can_asset_tracker_data cached_data;
	char json_buf[512];
	char ts_str[32];
	char lat_str[12];
	char lon_str[12];

	/* read_and_report_battery(client)'s read/format/log steps, called
	 * directly here since its own signature is golioth_client-typed (see
	 * AUDIT.md's golioth-battery-monitor function split); its final
	 * stream_battery_data() step is replaced by the uplink_mqtt publish
	 * below, using the same JSON shape golioth-battery-monitor's own
	 * stream_battery_data() built. */
	IF_ENABLED(CONFIG_ALUDEL_BATTERY_MONITOR, (
		struct battery_data batt_data;
		int batt_err = read_battery_data(&batt_data);

		if (batt_err) {
			LOG_ERR("Error reading battery data");
		} else {
			char batt_json_buf[40];

			log_battery_data();
			snprintk(batt_json_buf, sizeof(batt_json_buf),
				 "{\"batt_v\":%d.%03d,\"batt_pct\":%d.%02d}",
				 batt_data.battery_voltage_mv / 1000,
				 batt_data.battery_voltage_mv % 1000,
				 batt_data.battery_level_pptt / 100,
				 batt_data.battery_level_pptt % 100);
			uplink_mqtt_publish_telemetry(batt_json_buf, strlen(batt_json_buf));
		}
	));

	while (k_msgq_get(&cat_msgq, &cached_data, K_NO_WAIT) == 0) {
		double obd_speed = cached_data.obd.vehicle_speed_valid
					    ? (double)cached_data.obd.vehicle_speed_kph
					    : -1.0;
		int rpm = cached_data.obd.engine_rpm_valid ? cached_data.obd.engine_rpm : -1;
		double fuel_level = cached_data.obd.fuel_level_valid
					     ? (double)cached_data.obd.fuel_level_pct
					     : -1.0;
		int coolant_temp =
			cached_data.obd.coolant_temp_valid ? cached_data.obd.coolant_temp_c : -999;
		double supply_voltage = cached_data.obd.supply_voltage_valid
						 ? (double)cached_data.obd.supply_voltage_v
						 : -1.0;
		/* Standard commercial-OBD-dongle proxy: bus responded at all this
		 * cycle => ignition/accessory power is on. */
		const char *ignition_on = obd_j1979_bus_responded(&cached_data.obd) ? "true" : "false";
		/* Best-effort snapshot — see the same caveat on the DTC event's
		 * "buffered" field below; the actual live-vs-buffer decision is
		 * made inside uplink_mqtt_publish_telemetry(), after this string
		 * is already built. */
		const char *buffered = uplink_mqtt_is_connected() ? "false" : "true";
		/* GPS-derived speed/heading, distinct from (and a cross-check
		 * against) obd_speed above — minmea's speed is in knots. */
		double location_speed_kmh =
			(double)minmea_tofloat(&cached_data.rmc_frame.speed) * 1.852;
		double heading_deg = (double)minmea_tofloat(&cached_data.rmc_frame.course);

		snprintk(lat_str, sizeof(lat_str), "%f",
			 (double) minmea_tocoord(&cached_data.rmc_frame.latitude));
		snprintk(lon_str, sizeof(lon_str), "%f",
			 (double) minmea_tocoord(&cached_data.rmc_frame.longitude));
		snprintk(ts_str, sizeof(ts_str), "20%02d-%02d-%02dT%02d:%02d:%02d.%03dZ",
			 cached_data.rmc_frame.date.year, cached_data.rmc_frame.date.month,
			 cached_data.rmc_frame.date.day, cached_data.rmc_frame.time.hours,
			 cached_data.rmc_frame.time.minutes, cached_data.rmc_frame.time.seconds,
			 cached_data.rmc_frame.time.microseconds);

		if (cached_data.rmc_frame.valid == true) {
			snprintk(json_buf, sizeof(json_buf), JSON_FMT, uplink_mqtt_get_device_id(),
				 fw_version_str, ts_str, lat_str, lon_str, location_speed_kmh,
				 heading_deg, cached_data.fix_quality, "false", obd_speed, rpm,
				 fuel_level, coolant_temp, ignition_on, supply_voltage, buffered);

			/* Authoritative UTC time for DTC/harsh-driving events below,
			 * which aren't tied to any one GPS fix the way this
			 * telemetry record is. */
			strncpy(last_known_utc_time, ts_str, sizeof(last_known_utc_time) - 1);
			last_known_utc_time[sizeof(last_known_utc_time) - 1] = '\0';
		} else { /* Fake GPS data has no real UTC time, so no "timestamp" field */
			snprintk(json_buf, sizeof(json_buf), JSON_FMT_FAKE_GPS,
				 uplink_mqtt_get_device_id(), fw_version_str, lat_str, lon_str,
				 location_speed_kmh, heading_deg, cached_data.fix_quality, "true",
				 obd_speed, rpm, fuel_level, coolant_temp, ignition_on,
				 supply_voltage, buffered);
		}

		uplink_mqtt_publish_telemetry(json_buf, strlen(json_buf));
	}

	/* Fire exactly one "dtc_detected" event per newly-seen code — not one
	 * batched event for the whole current set — and never re-fire for a
	 * code already reported (this session), even if it clears and later
	 * reappears. */
	struct dtc_list dtcs;

	obd_j1979_get_latest_dtcs(&dtcs);
	for (size_t i = 0; i < dtcs.count; i++) {
		if (dtc_already_reported(dtcs.codes[i])) {
			continue;
		}

		char event_json_buf[160];
		/* Best-effort snapshot: uplink_mqtt_publish_event() itself decides
		 * live-publish vs. buffer based on this same connection state, but
		 * that decision happens after this payload is already built, so
		 * there's a small race window between this check and the actual
		 * publish (e.g. a disconnect right in between) that this field
		 * won't reflect. */
		bool connected = uplink_mqtt_is_connected();

		snprintk(event_json_buf, sizeof(event_json_buf), DTC_EVENT_JSON_FMT,
			 uplink_mqtt_get_device_id(), last_known_utc_time, dtcs.codes[i],
			 connected ? "false" : "true");

		uplink_mqtt_publish_event(event_json_buf, strlen(event_json_buf));
		dtc_mark_reported(dtcs.codes[i]);
	}
}

const char *app_sensors_get_last_known_time(void)
{
	return last_known_utc_time;
}
```

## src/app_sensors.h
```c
/*
 * Copyright (c) 2024 Golioth, Inc.
 *
 * SPDX-License-Identifier: Apache-2.0
 */

#ifndef __APP_SENSORS_H__
#define __APP_SENSORS_H__

/** The `app_sensors.c` file performs the important work of this application
 * which is to read CAN/GPS sensor values. TODO(replace-with-mqtt):
 * app_sensors_read_and_stream() builds the JSON payload but no longer
 * transmits it — see the splice-point TODO in app_sensors.c.
 */

void app_sensors_read_and_stream(void);
void app_sensors_init(void);

/**
 * @return The most recent authoritative (non-fake) UTC GPS timestamp,
 * "YYYY-MM-DDTHH:MM:SS.mmmZ", for event payloads not tied to any one GPS
 * fix (e.g. harsh-driving events). Sentinel "1970-01-01T00:00:00Z" until
 * the first valid fix arrives — there's no RTC hardware wired up here to
 * fall back to.
 */
const char *app_sensors_get_last_known_time(void);

#endif /* __APP_SENSORS_H__ */
```

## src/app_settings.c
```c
/*
 * Copyright (c) 2024 Golioth, Inc.
 *
 * SPDX-License-Identifier: Apache-2.0
 */

#include <zephyr/logging/log.h>
LOG_MODULE_REGISTER(app_settings, LOG_LEVEL_DBG);

#include "main.h"
#include "app_settings.h"

/* How long to wait between uploading to Golioth */
static int32_t _loop_delay_s = 5;
#define LOOP_DELAY_S_MAX 43200
#define LOOP_DELAY_S_MIN 1

/* How long to wait between GPS readings */
static int32_t _gps_delay_s = 3;
#define GPS_DELAY_S_MAX 43200
#define GPS_DELAY_S_MIN 0

/* Fake GPS control */
static bool _fake_gps_enabled_s;

/* Fake GPS latitude value */
static float _fake_gps_latitude_s = 37.789980;
#define FAKE_GPS_LATITUDE_S_MAX 90.0
#define FAKE_GPS_LATITUDE_S_MIN -90.0

/* Fake GPS longitude value */
static float _fake_gps_longitude_s = -122.400860;
#define FAKE_GPS_LONGITUDE_S_MAX 180.0
#define FAKE_GPS_LONGITUDE_S_MIN -180.0

/* How long to wait between vehicle speed readings */
static int32_t _vehicle_speed_delay_s = 1;
#define VEHICLE_SPEED_DELAY_S_MAX 43200
#define VEHICLE_SPEED_DELAY_S_MIN 0

int32_t get_loop_delay_s(void)
{
	return _loop_delay_s;
}

int32_t get_gps_delay_s(void)
{
	return _gps_delay_s;
}

bool get_fake_gps_enabled_s(void)
{
	return _fake_gps_enabled_s;
}

float get_fake_gps_latitude_s(void)
{
	return _fake_gps_latitude_s;
}

float get_fake_gps_longitude_s(void)
{
	return _fake_gps_longitude_s;
}

int32_t get_vehicle_speed_delay_s(void)
{
	return _vehicle_speed_delay_s;
}

/* TODO(replace-with-mqtt): the six on_setting callbacks and their
 * golioth_settings_register calls are removed — each callback's return type
 * (enum golioth_settings_status) is the Golioth Settings Service API
 * contract itself, so there's no non-Golioth-typed body to keep. The
 * getters above (the actual config state fed into app_sensors.c/main.c) are
 * untouched and still return their compiled-in defaults; there is currently
 * no runtime way to change the loop delay, GPS delay, fake-GPS controls, or
 * vehicle-speed delay until an MQTT-based remote-config path replaces this
 * file's registration call. wake_system_thread() (previously called from
 * the loop-delay callback so a changed value took effect immediately) is
 * unreferenced here now for the same reason. */
void app_settings_register(void)
{
}
```

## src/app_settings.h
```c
/*
 * Copyright (c) 2024 Golioth, Inc.
 *
 * SPDX-License-Identifier: Apache-2.0
 */

/**
 * Local config state (loop/GPS/vehicle-speed delays, fake-GPS controls),
 * read via the getters below. TODO(replace-with-mqtt): app_settings_register()
 * was Golioth Settings Service registration, letting the cloud change these
 * at runtime — see app_settings.c for what's still missing.
 */

#ifndef __APP_SETTINGS_H__
#define __APP_SETTINGS_H__

#include <stdint.h>

int32_t get_loop_delay_s(void);
void app_settings_register(void);
int32_t get_gps_delay_s(void);
bool get_fake_gps_enabled_s(void);
float get_fake_gps_latitude_s(void);
float get_fake_gps_longitude_s(void);
int32_t get_vehicle_speed_delay_s(void);

#endif /* __APP_SETTINGS_H__ */
```

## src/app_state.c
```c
/*
 * Copyright (c) 2024 Golioth, Inc.
 *
 * SPDX-License-Identifier: Apache-2.0
 */

#include <zephyr/logging/log.h>
LOG_MODULE_REGISTER(app_state, LOG_LEVEL_DBG);

#include "app_state.h"

/* TODO(replace-with-mqtt): this file was a Golioth LightDB State ("digital
 * twin") demo (example_int0/example_int1, observe "desired" + write
 * "state"). Per AUDIT.md: "Entirely a Golioth Cloud demo feature; no real
 * vehicle data flows through it" — no data-production logic to preserve, so
 * it's dropped rather than ported. Left as a no-op stub (see app_state.h)
 * rather than deleted, matching the rest of Phase 2's approach of leaving
 * TODO markers instead of removing files outright. */
int app_state_observe(void)
{
	return 0;
}
```

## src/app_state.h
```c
/*
 * Copyright (c) 2024 Golioth, Inc.
 *
 * SPDX-License-Identifier: Apache-2.0
 */

/**
 * TODO(replace-with-mqtt): was a Golioth LightDB State ("digital twin") demo
 * — see app_state.c. No-op stub, no real vehicle data involved.
 */

#ifndef __APP_STATE_H__
#define __APP_STATE_H__

int app_state_observe(void);

#endif /* __APP_STATE_H__ */
```

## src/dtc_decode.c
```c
/*
 * SPDX-License-Identifier: Apache-2.0
 */

#include <errno.h>
#include <zephyr/sys/printk.h>
#include <zephyr/sys/util.h>

#include "dtc_decode.h"

#define OBD2_SERVICE_READ_STORED_DTCS	    0x03
#define OBD2_SERVICE_READ_STORED_DTCS_RESP (OBD2_SERVICE_READ_STORED_DTCS + 0x40)

/* DTC first-byte top 2 bits select the category letter. */
static const char dtc_category_letters[4] = { 'P', 'C', 'B', 'U' };

void dtc_decode_build_request(uint8_t buf[8])
{
	/* [data_length, service, pad...] — no PID for Mode 03, matching the
	 * same ISO 15765-2 0xCC padding convention app_sensors.c's Mode 01
	 * requests already use. */
	buf[0] = 1;
	buf[1] = OBD2_SERVICE_READ_STORED_DTCS;
	for (int i = 2; i < 8; i++) {
		buf[i] = 0xCC;
	}
}

int dtc_decode_parse_response(const uint8_t *data, size_t len, struct dtc_list *out)
{
	if (len < 2 || data[1] != OBD2_SERVICE_READ_STORED_DTCS_RESP) {
		return -EINVAL;
	}

	out->count = 0;

	for (size_t i = 2; (i + 1) < len && out->count < DTC_MAX_CODES_PER_FRAME; i += 2) {
		uint8_t b0 = data[i];
		uint8_t b1 = data[i + 1];

		if (b0 == 0 && b1 == 0) {
			/* Unused DTC slot in this response. */
			continue;
		}

		char category = dtc_category_letters[(b0 >> 6) & 0x03];
		uint8_t first_digit = (b0 >> 4) & 0x03;
		uint8_t second_digit = b0 & 0x0F;
		uint8_t third_digit = (b1 >> 4) & 0x0F;
		uint8_t fourth_digit = b1 & 0x0F;

		snprintk(out->codes[out->count], DTC_CODE_STRLEN, "%c%1u%1X%1X%1X", category,
			 first_digit, second_digit, third_digit, fourth_digit);
		out->count++;
	}

	return 0;
}
```
